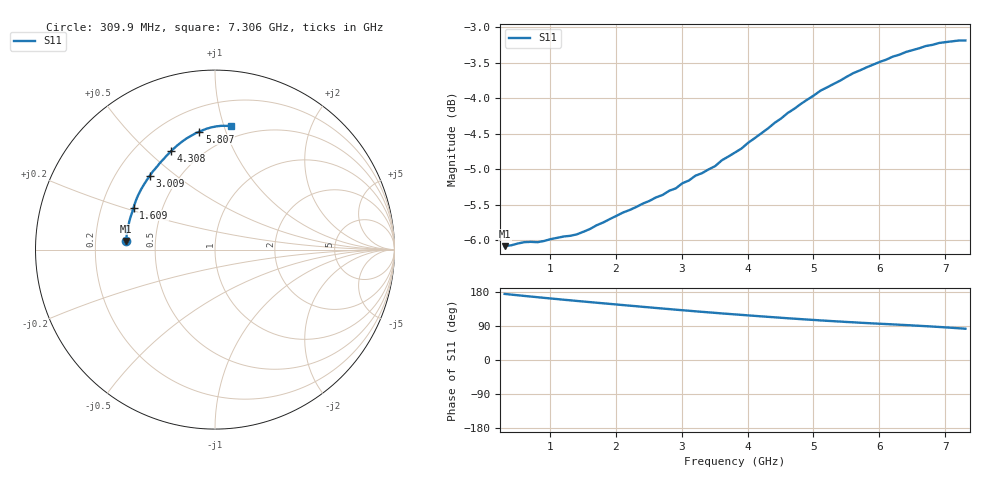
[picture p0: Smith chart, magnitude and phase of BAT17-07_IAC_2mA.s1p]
! Infineon Technologies  Discrete & RF Semiconductors
! BAT17-07
! IAC = 2 mA
! One-Port S-Parameters
# Hz  S  MA  R  50
!f  S11
!Hz  Mag  Ang
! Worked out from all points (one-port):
!   71 points, 309.9 MHz to 7.306 GHz, reference 50 ohm
!   lowest |S11| = -6.1 dB at 309.9 MHz (marker M1), VSWR 2.97, Z = 16.9 + j2.17 ohm
!   |S11| at or under -10 dB: nowhere
!   S11 on the Smith chart (normalised r, x): 309.9 MHz: 0.34, +0.04; 1.609 GHz: 0.34, +0.22; 3.009 GHz: 0.34, +0.41; 4.308 GHz: 0.35, +0.59; 5.807 GHz: 0.35, +0.82; 7.306 GHz: 0.40, +1.06
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3.0985e8  0.4964 174.4
6.097e8  0.4996 169.1
8.096e8  0.4996 165.7
1.2094e9  0.5043 159.0
1.4093e9  0.5061 155.8
1.6092e9  0.5105 152.7
1.90905e9  0.5188 148.0
2.10895e9  0.5243 144.9
2.50875e9  0.5342 138.8
2.90855e9  0.5452 132.8
3.0085e9  0.5497 131.4
3.2084e9  0.5566 128.4
3.50825e9  0.5654 124.4
3.6082e9  0.5706 122.9
3.8081e9  0.5779 120.3
4.30785e9  0.6009 113.9
4.70765e9  0.6204 109.0
5.0075e9  0.6341 105.7
5.10745e9  0.639 104.4
5.50725e9  0.6536 100.3
5.6072e9  0.6575 99.4
5.8071e9  0.6636 97.5
5.90705e9  0.6665 96.5
6.2069e9  0.6753 94.0
6.50675e9  0.6825 91.2
6.90655e9  0.6904 87.2
7.2064e9  0.6931 83.7
7.30635e9  0.6932 82.5
